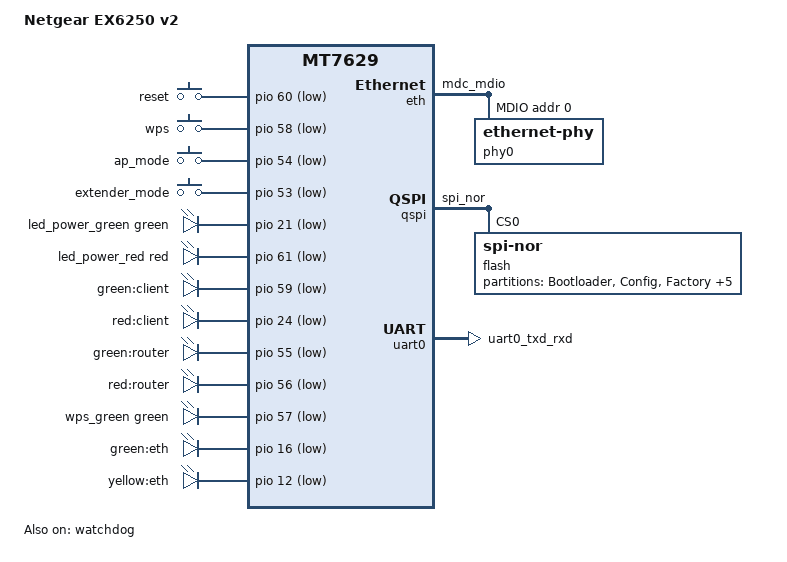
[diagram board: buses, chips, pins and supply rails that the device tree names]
// SPDX-License-Identifier: GPL-2.0

/dts-v1/;
#include <dt-bindings/input/input.h>
#include <dt-bindings/leds/common.h>
#include "mt7629.dtsi"

/ {
	model = "Netgear EX6250 v2";
	compatible = "netgear,ex6250-v2", "mediatek,mt7629";

	aliases {
		led-boot = &led_power_green;
		led-failsafe = &led_power_red;
		led-running = &led_power_green;
		led-upgrade = &led_power_red;
		serial0 = &uart0;
	};

	chosen {
		stdout-path = "serial0:115200n8";
		bootargs-override = "console=ttyS0,115200n8";
	};

	keys {
		compatible = "gpio-keys";

		reset {
			label = "reset";
			gpios = <&pio 60 GPIO_ACTIVE_LOW>;
			linux,code = <KEY_RESTART>;
		};

		wps {
			label = "wps";
			gpios = <&pio 58 GPIO_ACTIVE_LOW>;
			linux,code = <KEY_WPS_BUTTON>;
		};

		ap_mode {
			label = "ap_mode";
			gpios = <&pio 54 GPIO_ACTIVE_LOW>;
			linux,code = <BTN_0>;
		};

		extender_mode {
			label = "extender_mode";
			gpios = <&pio 53 GPIO_ACTIVE_LOW>;
			linux,code = <BTN_1>;
		};
	};

	leds {
		compatible = "gpio-leds";

		led_power_green: power_green {
			function = LED_FUNCTION_POWER;
			color = <LED_COLOR_ID_GREEN>;
			gpios = <&pio 21 GPIO_ACTIVE_LOW>;
		};

		led_power_red: power_red {
			function = LED_FUNCTION_POWER;
			color = <LED_COLOR_ID_RED>;
			gpios = <&pio 61 GPIO_ACTIVE_LOW>;
		};

		client_green {
			label = "green:client";
			gpios = <&pio 59 GPIO_ACTIVE_LOW>;
		};

		client_red {
			label = "red:client";
			gpios = <&pio 24 GPIO_ACTIVE_LOW>;
		};

		router_green {
			label = "green:router";
			gpios = <&pio 55 GPIO_ACTIVE_LOW>;
		};

		router_red {
			label = "red:router";
			gpios = <&pio 56 GPIO_ACTIVE_LOW>;
		};

		wps_green {
			function = LED_FUNCTION_WPS;
			color = <LED_COLOR_ID_GREEN>;
			gpios = <&pio 57 GPIO_ACTIVE_LOW>;
		};

		eth_green {
			label = "green:eth";
			gpios = <&pio 16 GPIO_ACTIVE_LOW>;
		};

		eth_yellow {
			label = "yellow:eth";
			gpios = <&pio 12 GPIO_ACTIVE_LOW>;
		};
	};
};

&eth {
	pinctrl-names = "default";
	pinctrl-0 = <&eth_pins>;
	pinctrl-1 = <&ephy_leds_pins>;
	status = "okay";

	mac@1 {
		compatible = "mediatek,eth-mac";
		reg = <1>;
		phy-mode = "gmii";
		phy-handle = <&phy0>;
	};

	mdio-bus {
		#address-cells = <1>;
		#size-cells = <0>;

		phy0: ethernet-phy@0 {
			reg = <0>;
		};
	};
};

&qspi {
	status = "okay";

	pinctrl-names = "default";
	pinctrl-0 = <&qspi_pins>;

	flash@0 {
		compatible = "jedec,spi-nor";
		reg = <0>;

		partitions {
			compatible = "fixed-partitions";
			#address-cells = <1>;
			#size-cells = <1>;

			partition@0 {
				label = "Bootloader";
				reg = <0x0 0x60000>;
				read-only;
			};

			partition@60000 {
				label = "Config";
				reg = <0x60000 0x10000>;
				read-only;
			};

			partition@70000 {
				label = "Factory";
				reg = <0x70000 0x10000>;
				read-only;
			};

			partition@80000 {
				label = "firmware";
				reg = <0x80000 0xcd0000>;
				compatible = "denx,fit";
			};

			partition@d50000 {
				label = "CFG";
				reg = <0xd50000 0x80000>;
				read-only;
			};

			partition@dd0000 {
				label = "RAE";
				reg = <0xdd0000 0x200000>;
				read-only;
			};

			partition@fd0000 {
				label = "POT";
				reg = <0xfd0000 0x10000>;
				read-only;
			};

			partition@fe0000 {
				label = "LOG";
				reg = <0xfe0000 0x20000>;
				read-only;
			};
		};
	};
};

&pio {
	eth_pins: eth-pins {
		mux {
			function = "eth";
			groups = "mdc_mdio";
		};
	};

	ephy_leds_pins: ephy-leds-pins {
		mux {
			function = "led";
			groups = "ephy_leds";
		};
	};

	qspi_pins: qspi-pins {
		mux {
			function = "flash";
			groups = "spi_nor";
		};
	};

	uart0_pins: uart0-pins {
		mux {
			function = "uart";
			groups = "uart0_txd_rxd" ;
		};
	};

	watchdog_pins: watchdog-pins {
		mux {
			function = "watchdog";
			groups = "watchdog";
		};
	};
};

&uart0 {
	pinctrl-names = "default";
	pinctrl-0 = <&uart0_pins>;
	status = "okay";
};

&watchdog {
	pinctrl-names = "default";
	pinctrl-0 = <&watchdog_pins>;
	status = "okay";
};
